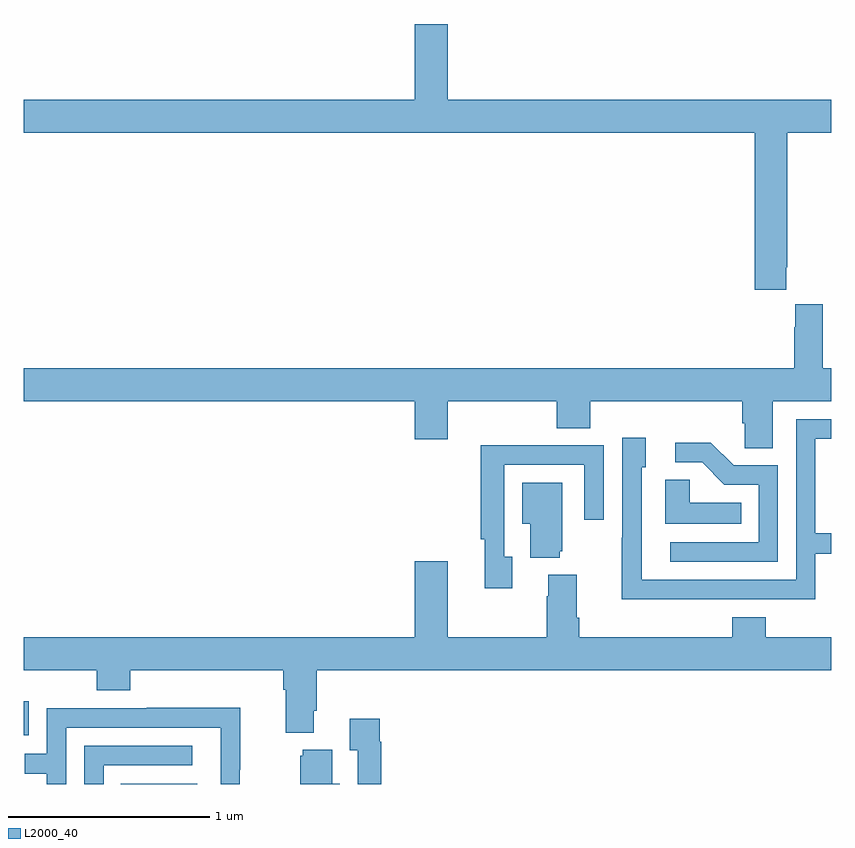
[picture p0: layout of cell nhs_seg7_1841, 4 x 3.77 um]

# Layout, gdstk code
import gdstk
lib = gdstk.Library(unit=1e-6, precision=1e-09)
def R(c, l, rs):  # rectangles x0, y0, x1, y1
    for r in rs: c.add(gdstk.rectangle(r[:2], r[2:], *l))
def P(c, l, *ps):  # polygons
    for p in ps: c.add(gdstk.Polygon(p, *l))
L2000_40 = (2000, 40)

nhs_seg7_1841 = lib.new_cell('nhs_seg7_1841')
R(nhs_seg7_1841, L2000_40, [(235.48,1052,235.858,1052.002), (235,1052.241,235.023,1052.41)])
P(nhs_seg7_1841, L2000_40, [(238.777,1054.561),(238.782,1054.561),(238.782,1055.228),(239,1055.228),(239,1055.392),(237.1,1055.392),(237.1,1055.767),(236.936,1055.767),(236.936,1055.392),(235,1055.392),(235,1055.228),(238.622,1055.228),(238.622,1054.449),(238.777,1054.449)],
  [(238.711,1053.896),(239,1053.896),(239,1054.06),(238.96,1054.06),(238.96,1054.378),(238.823,1054.378),(238.823,1054.265),(238.817,1054.265),(238.817,1054.06),(235,1054.06),(235,1053.896),(236.936,1053.896),(236.936,1053.708),(237.1,1053.708),(237.1,1053.896),(237.641,1053.896),(237.641,1053.763),(237.806,1053.763),(237.806,1053.896),(238.559,1053.896),(238.559,1053.787),(238.572,1053.787),(238.572,1053.664),(238.711,1053.664)],
  [(238.427,1052.916),(238.923,1052.916),(238.923,1053.141),(239,1053.141),(239,1053.242),(238.923,1053.242),(238.923,1053.711),(239,1053.711),(239,1053.807),(238.827,1053.807),(238.827,1053.012),(238.062,1053.012),(238.062,1053.57),(238.081,1053.57),(238.081,1053.715),(237.966,1053.715),(237.966,1053.221),(237.964,1053.221),(237.964,1052.915),(238.427,1052.915)],
  [(238.737,1053.579),(238.518,1053.579),(238.405,1053.692),(238.227,1053.692),(238.227,1053.594),(238.361,1053.594),(238.472,1053.483),(238.641,1053.483),(238.641,1053.198),(238.203,1053.198),(238.203,1053.102),(238.737,1053.102)],
  [(237.421,1053.126),(237.381,1053.126),(237.381,1053.582),(237.777,1053.582),(237.777,1053.309),(237.873,1053.309),(237.873,1053.678),(237.557,1053.678),(237.557,1053.68),(237.265,1053.68),(237.265,1053.214),(237.284,1053.214),(237.284,1052.97),(237.421,1052.97)],
  [(238.556,1053.394),(238.299,1053.394),(238.299,1053.509),(238.178,1053.509),(238.178,1053.29),(238.556,1053.29)],
  [(237.656,1053.153),(237.667,1053.153),(237.667,1053.493),(237.47,1053.493),(237.47,1053.29),(237.509,1053.29),(237.509,1053.122),(237.656,1053.122)],
  [(236.437,1052.362),(236.45,1052.362),(236.45,1052.564),(239,1052.564),(239,1052.728),(238.676,1052.728),(238.676,1052.827),(238.511,1052.827),(238.511,1052.728),(237.752,1052.728),(237.752,1052.824),(237.739,1052.824),(237.739,1053.037),(237.599,1053.037),(237.599,1052.93),(237.592,1052.93),(237.592,1052.728),(237.1,1052.728),(237.1,1053.103),(236.936,1053.103),(236.936,1052.728),(235,1052.728),(235,1052.564),(235.361,1052.564),(235.361,1052.465),(235.526,1052.465),(235.526,1052.564),(236.285,1052.564),(236.285,1052.468),(236.297,1052.468),(236.297,1052.255),(236.437,1052.255)],
  [(235.209,1052.28),(235.974,1052.28),(235.974,1052),(236.07,1052),(236.07,1052.071),(236.073,1052.071),(236.073,1052.378),(235.609,1052.378),(235.609,1052.376),(235.113,1052.376),(235.113,1052.151),(235.003,1052.151),(235.003,1052.05),(235.113,1052.05),(235.113,1052),(235.209,1052)],
  [(236.771,1052.21),(236.764,1052.21),(236.764,1052.323),(236.615,1052.323),(236.615,1052.167),(236.655,1052.167),(236.655,1052),(236.771,1052)],
  [(235.395,1052.094),(235.834,1052.094),(235.834,1052.19),(235.299,1052.19),(235.299,1052),(235.395,1052)],
  [(236.566,1052.002),(236.527,1052.002),(236.527,1052.17),(236.381,1052.17),(236.381,1052.139),(236.369,1052.139),(236.369,1052),(236.566,1052)])

lib.write_gds('nhs_seg7_1841.gds')
